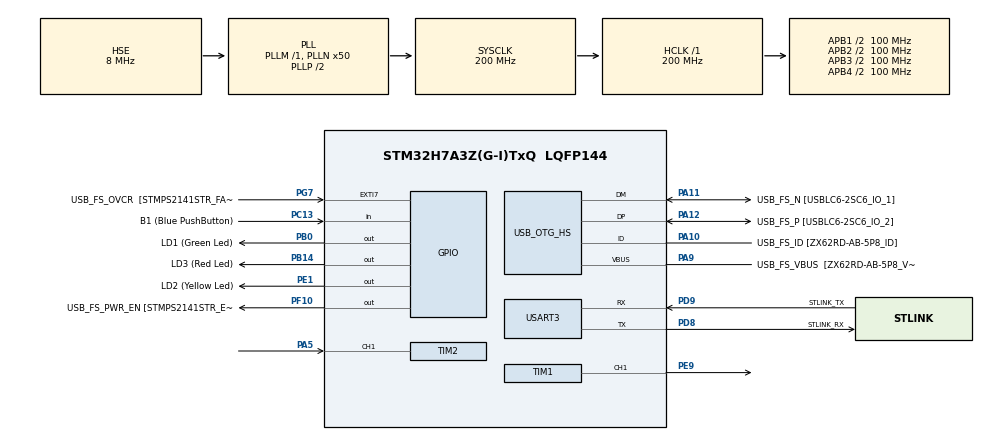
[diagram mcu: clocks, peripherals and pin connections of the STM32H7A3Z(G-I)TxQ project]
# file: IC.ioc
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Dma.Request0=TIM2_CH1
Dma.TIM2_CH1.0.Direction=DMA_PERIPH_TO_MEMORY
Dma.TIM2_CH1.0.EventEnable=DISABLE
Dma.TIM2_CH1.0.FIFOMode=DMA_FIFOMODE_DISABLE
Dma.TIM2_CH1.0.Instance=DMA1_Stream0
Dma.TIM2_CH1.0.MemDataAlignment=DMA_MDATAALIGN_WORD
Dma.TIM2_CH1.0.MemInc=DMA_MINC_ENABLE
Dma.TIM2_CH1.0.Mode=DMA_NORMAL
Dma.TIM2_CH1.0.PeriphDataAlignment=DMA_PDATAALIGN_WORD
Dma.TIM2_CH1.0.PeriphInc=DMA_PINC_DISABLE
Dma.TIM2_CH1.0.Polarity=HAL_DMAMUX_REQ_GEN_RISING
Dma.TIM2_CH1.0.Priority=DMA_PRIORITY_LOW
Dma.TIM2_CH1.0.RequestNumber=1
Dma.TIM2_CH1.0.SignalID=NONE
Dma.TIM2_CH1.0.SyncEnable=DISABLE
Dma.TIM2_CH1.0.SyncPolarity=HAL_DMAMUX_SYNC_NO_EVENT
Dma.TIM2_CH1.0.SyncRequestNumber=1
Dma.TIM2_CH1.0.SyncSignalID=NONE
Mcu.Family=STM32H7
Mcu.Name=STM32H7A3Z(G-I)TxQ
Mcu.Package=LQFP144
NVIC.DMA1_Stream0_IRQn=true\:0\:0\:false\:false\:true\:false\:true\:true
NVIC.PriorityGroup=NVIC_PRIORITYGROUP_4
NVIC.TIM2_IRQn=true\:0\:0\:false\:false\:true\:true\:true\:true
PA10.GPIO_Label=USB_FS_ID [ZX62RD-AB-5P8_ID]
PA10.Mode=OTG/Dual-Role-Device-FS
PA10.Signal=USB_OTG_HS_ID
PA11.GPIO_Label=USB_FS_N [USBLC6-2SC6_IO_1]
PA11.Mode=OTG/Dual-Role-Device-FS
PA11.Signal=USB_OTG_HS_DM
PA12.GPIO_Label=USB_FS_P [USBLC6-2SC6_IO_2]
PA12.Mode=OTG/Dual-Role-Device-FS
PA12.Signal=USB_OTG_HS_DP
PA5.Signal=S_TIM2_CH1_ETR
PA9.GPIO_Label=USB_FS_VBUS  [ZX62RD-AB-5P8_VBUS]
PA9.Mode=Activate_VBUS_FS
PA9.Signal=USB_OTG_HS_VBUS
PB0.GPIO_Label=LD1 (Green Led)
PB0.Signal=GPIO_Output
PB14.GPIO_Label=LD3 (Red Led)
PB14.Signal=GPIO_Output
PC13.GPIO_Label=B1 (Blue PushButton)
PC13.Signal=GPIO_Input
PC14-OSC32_IN.GPIO_Label=OSC32_IN
PC14-OSC32_IN.Mode=LSE-External-Oscillator
PC14-OSC32_IN.Signal=RCC_OSC32_IN
PC15-OSC32_OUT.GPIO_Label=OSC32_OUT
PC15-OSC32_OUT.Mode=LSE-External-Oscillator
PC15-OSC32_OUT.Signal=RCC_OSC32_OUT
PD8.GPIO_Label=STLINK_RX
PD8.Mode=Asynchronous
PD8.Signal=USART3_TX
PD9.GPIO_Label=STLINK_TX
PD9.Mode=Asynchronous
PD9.Signal=USART3_RX
PE1.GPIO_Label=LD2 (Yellow Led)
PE1.Signal=GPIO_Output
PE9.Signal=S_TIM1_CH1
PF10.GPIO_Label=USB_FS_PWR_EN [STMPS2141STR_EN]
PF10.Signal=GPIO_Output
PG7.GPIO_Label=USB_FS_OVCR  [STMPS2141STR_FAULT]
PG7.Signal=GPXTI7
PH0-OSC_IN.GPIO_Label=PH0-MCU
PH0-OSC_IN.Mode=HSE-External-Clock-Source
PH0-OSC_IN.Signal=RCC_OSC_IN
PH1-OSC_OUT.GPIO_Label=PH1-MCU
PH1-OSC_OUT.Signal=RCC_OSC_OUT
ProjectManager.HeapSize=0x200
ProjectManager.StackSize=0x400
ProjectManager.TargetToolchain=STM32CubeIDE
RCC.ADCFreq_Value=16125000
RCC.APB1Freq_Value=100000000
RCC.APB2Freq_Value=100000000
RCC.APB3Freq_Value=100000000
RCC.APB4Freq_Value=100000000
RCC.CDPPRE=RCC_APB3_DIV2
RCC.CDPPRE1=RCC_APB1_DIV2
RCC.CDPPRE2=RCC_APB2_DIV2
RCC.CortexFreq_Value=200000000
RCC.DIVM1=1
RCC.DIVM3=1
RCC.DIVN1=50
RCC.DIVN3=24
RCC.DIVQ1=4
RCC.HCLKFreq_Value=200000000
RCC.HSE_VALUE=8000000
RCC.PLLFRACN=0
RCC.PLLSourceVirtual=RCC_PLLSOURCE_HSE
RCC.PWR_Regulator_Voltage_Scale=PWR_REGULATOR_VOLTAGE_SCALE0
RCC.SRDPPRE=RCC_APB4_DIV2
RCC.SYSCLKFreq_VALUE=200000000
RCC.SYSCLKSource=RCC_SYSCLKSOURCE_PLLCLK
RCC.SupplySource=PWR_DIRECT_SMPS_SUPPLY
RCC.USBCLockSelection=RCC_USBCLKSOURCE_HSI48
RCC.USBFreq_Value=48000000
SH.S_TIM1_CH1.0=TIM1_CH1,PWM Generation1 CH1
SH.S_TIM2_CH1_ETR.0=TIM2_CH1,Input_Capture1_from_TI1
TIM1.AutoReloadPreload=TIM_AUTORELOAD_PRELOAD_ENABLE
TIM1.Channel-PWM\ Generation1\ CH1=TIM_CHANNEL_1
TIM1.Period=20
TIM1.Prescaler=0
TIM1.Pulse-PWM\ Generation1\ CH1=0
TIM2.AutoReloadPreload=TIM_AUTORELOAD_PRELOAD_ENABLE
TIM2.Channel-Input_Capture1_from_TI1=TIM_CHANNEL_1
TIM2.ICPolarity_CH1=TIM_INPUTCHANNELPOLARITY_RISING
TIM2.Period=4294967295
USART3.VirtualMode-Asynchronous=VM_ASYNC
VP_TIM1_VS_ClockSourceINT.Mode=Internal
VP_TIM2_VS_ClockSourceINT.Mode=Internal
board=NUCLEO-H7A3ZI-Q

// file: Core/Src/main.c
/* USER CODE BEGIN Header */
/**
  ******************************************************************************
  * @file           : main.c
  * @brief          : Main program body
  ******************************************************************************
  * @attention
  *
  * Copyright (c) 2024 STMicroelectronics.
  * All rights reserved.
  *
  * This software is licensed under terms that can be found in the LICENSE file
  * in the root directory of this software component.
  * If no LICENSE file comes with this software, it is provided AS-IS.
  *
  ******************************************************************************
  */
/* USER CODE END Header */
#include "main.h"

TIM_HandleTypeDef htim1;
TIM_HandleTypeDef htim2;
DMA_HandleTypeDef hdma_tim2_ch1;

UART_HandleTypeDef huart3;

void SystemClock_Config(void);
static void MX_GPIO_Init(void);
static void MX_DMA_Init(void);
static void MX_USB_OTG_HS_USB_Init(void);
static void MX_TIM2_Init(void);
static void MX_USART3_UART_Init(void);
static void MX_TIM1_Init(void);

/* USER CODE BEGIN 0 */
#define TIMCLOCK   200000000
#define PRESCALAR  0

uint32_t IC_Val1 = 0;
uint32_t IC_Val2 = 0;
uint32_t Difference = 0;
int Is_First_Captured = 0;

/* Measure Frequency */
float frequency = 0;

void HAL_TIM_IC_CaptureCallback(TIM_HandleTypeDef *htim)
{
	if (htim->Channel == HAL_TIM_ACTIVE_CHANNEL_1)
	{
		if (Is_First_Captured==0) // if the first rising edge is not captured
		{
			IC_Val1 = HAL_TIM_ReadCapturedValue(htim, TIM_CHANNEL_1); // read the first value
			Is_First_Captured = 1;  // set the first captured as true
		}

		else   // If the first rising edge is captured, now we will capture the second edge
		{
			IC_Val2 = HAL_TIM_ReadCapturedValue(htim, TIM_CHANNEL_1);  // read second value

			if (IC_Val2 > IC_Val1)
			{
				Difference = IC_Val2-IC_Val1;
			}

			else if (IC_Val1 > IC_Val2)
			{
				Difference = (0xffffffff - IC_Val1) + IC_Val2;
			}

			float refClock = TIMCLOCK/(PRESCALAR+1);

			frequency = refClock/Difference;

			__HAL_TIM_SET_COUNTER(htim, 0);  // reset the counter
			Is_First_Captured = 0; // set it back to false
		}
	}
}
/* USER CODE END 0 */

int main(void)
{

  /* MCU Configuration--------------------------------------------------------*/

  /* Reset of all peripherals, Initializes the Flash interface and the Systick. */
  HAL_Init();

  /* Configure the system clock */
  SystemClock_Config();

  /* Initialize all configured peripherals */
  MX_GPIO_Init();
  MX_DMA_Init();
  MX_USB_OTG_HS_USB_Init();
  MX_TIM2_Init();
  MX_USART3_UART_Init();
  MX_TIM1_Init();
  /* USER CODE BEGIN 2 */
  TIM1->CCR1 = htim1.Init.Period / 2;
  HAL_TIM_PWM_Start(&htim1,TIM_CHANNEL_1);
  HAL_TIM_IC_Start_IT(&htim2, TIM_CHANNEL_1);

  /* USER CODE END 2 */

  /* Infinite loop */
  while (1)
  {

  }
}

void SystemClock_Config(void)
{
  RCC_OscInitTypeDef RCC_OscInitStruct = {0};
  RCC_ClkInitTypeDef RCC_ClkInitStruct = {0};

  /*AXI clock gating */
  RCC->CKGAENR = 0xFFFFFFFF;

  /** Supply configuration update enable
  */
  HAL_PWREx_ConfigSupply(PWR_DIRECT_SMPS_SUPPLY);

  /** Configure the main internal regulator output voltage
  */
  __HAL_PWR_VOLTAGESCALING_CONFIG(PWR_REGULATOR_VOLTAGE_SCALE0);

  while(!__HAL_PWR_GET_FLAG(PWR_FLAG_VOSRDY)) {}

  /** Initializes the RCC Oscillators according to the specified parameters
  * in the RCC_OscInitTypeDef structure.
  */
  RCC_OscInitStruct.OscillatorType = RCC_OSCILLATORTYPE_HSI48|RCC_OSCILLATORTYPE_HSE;
  RCC_OscInitStruct.HSEState = RCC_HSE_BYPASS;
  RCC_OscInitStruct.HSI48State = RCC_HSI48_ON;
  RCC_OscInitStruct.PLL.PLLState = RCC_PLL_ON;
  RCC_OscInitStruct.PLL.PLLSource = RCC_PLLSOURCE_HSE;
  RCC_OscInitStruct.PLL.PLLM = 1;
  RCC_OscInitStruct.PLL.PLLN = 50;
  RCC_OscInitStruct.PLL.PLLP = 2;
  RCC_OscInitStruct.PLL.PLLQ = 4;
  RCC_OscInitStruct.PLL.PLLR = 2;
  RCC_OscInitStruct.PLL.PLLRGE = RCC_PLL1VCIRANGE_3;
  RCC_OscInitStruct.PLL.PLLVCOSEL = RCC_PLL1VCOWIDE;
  RCC_OscInitStruct.PLL.PLLFRACN = 0;
  if (HAL_RCC_OscConfig(&RCC_OscInitStruct) != HAL_OK)
  {
    Error_Handler();
  }

  /** Initializes the CPU, AHB and APB buses clocks
  */
  RCC_ClkInitStruct.ClockType = RCC_CLOCKTYPE_HCLK|RCC_CLOCKTYPE_SYSCLK
                              |RCC_CLOCKTYPE_PCLK1|RCC_CLOCKTYPE_PCLK2
                              |RCC_CLOCKTYPE_D3PCLK1|RCC_CLOCKTYPE_D1PCLK1;
  RCC_ClkInitStruct.SYSCLKSource = RCC_SYSCLKSOURCE_PLLCLK;
  RCC_ClkInitStruct.SYSCLKDivider = RCC_SYSCLK_DIV1;
  RCC_ClkInitStruct.AHBCLKDivider = RCC_HCLK_DIV1;
  RCC_ClkInitStruct.APB3CLKDivider = RCC_APB3_DIV2;
  RCC_ClkInitStruct.APB1CLKDivider = RCC_APB1_DIV2;
  RCC_ClkInitStruct.APB2CLKDivider = RCC_APB2_DIV2;
  RCC_ClkInitStruct.APB4CLKDivider = RCC_APB4_DIV2;

  if (HAL_RCC_ClockConfig(&RCC_ClkInitStruct, FLASH_LATENCY_4) != HAL_OK)
  {
    Error_Handler();
  }
}

static void MX_TIM1_Init(void)
{

  TIM_ClockConfigTypeDef sClockSourceConfig = {0};
  TIM_MasterConfigTypeDef sMasterConfig = {0};
  TIM_OC_InitTypeDef sConfigOC = {0};
  TIM_BreakDeadTimeConfigTypeDef sBreakDeadTimeConfig = {0};

  htim1.Instance = TIM1;
  htim1.Init.Prescaler = 0;
  htim1.Init.CounterMode = TIM_COUNTERMODE_UP;
  htim1.Init.Period = 20;
  htim1.Init.ClockDivision = TIM_CLOCKDIVISION_DIV1;
  htim1.Init.RepetitionCounter = 0;
  htim1.Init.AutoReloadPreload = TIM_AUTORELOAD_PRELOAD_ENABLE;
  if (HAL_TIM_Base_Init(&htim1) != HAL_OK)
  {
    Error_Handler();
  }
  sClockSourceConfig.ClockSource = TIM_CLOCKSOURCE_INTERNAL;
  if (HAL_TIM_ConfigClockSource(&htim1, &sClockSourceConfig) != HAL_OK)
  {
    Error_Handler();
  }
  if (HAL_TIM_PWM_Init(&htim1) != HAL_OK)
  {
    Error_Handler();
  }
  sMasterConfig.MasterOutputTrigger = TIM_TRGO_RESET;
  sMasterConfig.MasterOutputTrigger2 = TIM_TRGO2_RESET;
  sMasterConfig.MasterSlaveMode = TIM_MASTERSLAVEMODE_DISABLE;
  if (HAL_TIMEx_MasterConfigSynchronization(&htim1, &sMasterConfig) != HAL_OK)
  {
    Error_Handler();
  }
  sConfigOC.OCMode = TIM_OCMODE_PWM1;
  sConfigOC.Pulse = 0;
  sConfigOC.OCPolarity = TIM_OCPOLARITY_HIGH;
  sConfigOC.OCNPolarity = TIM_OCNPOLARITY_HIGH;
  sConfigOC.OCFastMode = TIM_OCFAST_DISABLE;
  sConfigOC.OCIdleState = TIM_OCIDLESTATE_RESET;
  sConfigOC.OCNIdleState = TIM_OCNIDLESTATE_RESET;
  if (HAL_TIM_PWM_ConfigChannel(&htim1, &sConfigOC, TIM_CHANNEL_1) != HAL_OK)
  {
    Error_Handler();
  }
  sBreakDeadTimeConfig.OffStateRunMode = TIM_OSSR_DISABLE;
  sBreakDeadTimeConfig.OffStateIDLEMode = TIM_OSSI_DISABLE;
  sBreakDeadTimeConfig.LockLevel = TIM_LOCKLEVEL_OFF;
  sBreakDeadTimeConfig.DeadTime = 0;
  sBreakDeadTimeConfig.BreakState = TIM_BREAK_DISABLE;
  sBreakDeadTimeConfig.BreakPolarity = TIM_BREAKPOLARITY_HIGH;
  sBreakDeadTimeConfig.BreakFilter = 0;
  sBreakDeadTimeConfig.Break2State = TIM_BREAK2_DISABLE;
  sBreakDeadTimeConfig.Break2Polarity = TIM_BREAK2POLARITY_HIGH;
  sBreakDeadTimeConfig.Break2Filter = 0;
  sBreakDeadTimeConfig.AutomaticOutput = TIM_AUTOMATICOUTPUT_DISABLE;
  if (HAL_TIMEx_ConfigBreakDeadTime(&htim1, &sBreakDeadTimeConfig) != HAL_OK)
  {
    Error_Handler();
  }
  HAL_TIM_MspPostInit(&htim1);

}

static void MX_TIM2_Init(void)
{

  TIM_ClockConfigTypeDef sClockSourceConfig = {0};
  TIM_MasterConfigTypeDef sMasterConfig = {0};
  TIM_IC_InitTypeDef sConfigIC = {0};

  htim2.Instance = TIM2;
  htim2.Init.Prescaler = 0;
  htim2.Init.CounterMode = TIM_COUNTERMODE_UP;
  htim2.Init.Period = 4294967295;
  htim2.Init.ClockDivision = TIM_CLOCKDIVISION_DIV1;
  htim2.Init.AutoReloadPreload = TIM_AUTORELOAD_PRELOAD_ENABLE;
  if (HAL_TIM_Base_Init(&htim2) != HAL_OK)
  {
    Error_Handler();
  }
  sClockSourceConfig.ClockSource = TIM_CLOCKSOURCE_INTERNAL;
  if (HAL_TIM_ConfigClockSource(&htim2, &sClockSourceConfig) != HAL_OK)
  {
    Error_Handler();
  }
  if (HAL_TIM_IC_Init(&htim2) != HAL_OK)
  {
    Error_Handler();
  }
  sMasterConfig.MasterOutputTrigger = TIM_TRGO_RESET;
  sMasterConfig.MasterSlaveMode = TIM_MASTERSLAVEMODE_DISABLE;
  if (HAL_TIMEx_MasterConfigSynchronization(&htim2, &sMasterConfig) != HAL_OK)
  {
    Error_Handler();
  }
  sConfigIC.ICPolarity = TIM_INPUTCHANNELPOLARITY_RISING;
  sConfigIC.ICSelection = TIM_ICSELECTION_DIRECTTI;
  sConfigIC.ICPrescaler = TIM_ICPSC_DIV1;
  sConfigIC.ICFilter = 0;
  if (HAL_TIM_IC_ConfigChannel(&htim2, &sConfigIC, TIM_CHANNEL_1) != HAL_OK)
  {
    Error_Handler();
  }

}

static void MX_USART3_UART_Init(void)
{

  huart3.Instance = USART3;
  huart3.Init.BaudRate = 115200;
  huart3.Init.WordLength = UART_WORDLENGTH_8B;
  huart3.Init.StopBits = UART_STOPBITS_1;
  huart3.Init.Parity = UART_PARITY_NONE;
  huart3.Init.Mode = UART_MODE_TX_RX;
  huart3.Init.HwFlowCtl = UART_HWCONTROL_NONE;
  huart3.Init.OverSampling = UART_OVERSAMPLING_16;
  huart3.Init.OneBitSampling = UART_ONE_BIT_SAMPLE_DISABLE;
  huart3.Init.ClockPrescaler = UART_PRESCALER_DIV1;
  huart3.AdvancedInit.AdvFeatureInit = UART_ADVFEATURE_NO_INIT;
  if (HAL_UART_Init(&huart3) != HAL_OK)
  {
    Error_Handler();
  }
  if (HAL_UARTEx_SetTxFifoThreshold(&huart3, UART_TXFIFO_THRESHOLD_1_8) != HAL_OK)
  {
    Error_Handler();
  }
  if (HAL_UARTEx_SetRxFifoThreshold(&huart3, UART_RXFIFO_THRESHOLD_1_8) != HAL_OK)
  {
    Error_Handler();
  }
  if (HAL_UARTEx_DisableFifoMode(&huart3) != HAL_OK)
  {
    Error_Handler();
  }

}

static void MX_USB_OTG_HS_USB_Init(void)
{

}

static void MX_DMA_Init(void)
{

  /* DMA controller clock enable */
  __HAL_RCC_DMA1_CLK_ENABLE();

  /* DMA interrupt init */
  /* DMA1_Stream0_IRQn interrupt configuration */
  HAL_NVIC_SetPriority(DMA1_Stream0_IRQn, 0, 0);
  HAL_NVIC_EnableIRQ(DMA1_Stream0_IRQn);

}

static void MX_GPIO_Init(void)
{
  GPIO_InitTypeDef GPIO_InitStruct = {0};

  /* GPIO Ports Clock Enable */
  __HAL_RCC_GPIOC_CLK_ENABLE();
  __HAL_RCC_GPIOF_CLK_ENABLE();
  __HAL_RCC_GPIOH_CLK_ENABLE();
  __HAL_RCC_GPIOA_CLK_ENABLE();
  __HAL_RCC_GPIOB_CLK_ENABLE();
  __HAL_RCC_GPIOE_CLK_ENABLE();
  __HAL_RCC_GPIOD_CLK_ENABLE();
  __HAL_RCC_GPIOG_CLK_ENABLE();

  /*Configure GPIO pin Output Level */
  HAL_GPIO_WritePin(USB_FS_PWR_EN_GPIO_Port, USB_FS_PWR_EN_Pin, GPIO_PIN_RESET);

  /*Configure GPIO pin Output Level */
  HAL_GPIO_WritePin(GPIOB, LD1_Pin|LD3_Pin, GPIO_PIN_RESET);

  /*Configure GPIO pin Output Level */
  HAL_GPIO_WritePin(LD2_GPIO_Port, LD2_Pin, GPIO_PIN_RESET);

  /*Configure GPIO pin : B1_Pin */
  GPIO_InitStruct.Pin = B1_Pin;
  GPIO_InitStruct.Mode = GPIO_MODE_INPUT;
  GPIO_InitStruct.Pull = GPIO_NOPULL;
  HAL_GPIO_Init(B1_GPIO_Port, &GPIO_InitStruct);

  /*Configure GPIO pin : USB_FS_PWR_EN_Pin */
  GPIO_InitStruct.Pin = USB_FS_PWR_EN_Pin;
  GPIO_InitStruct.Mode = GPIO_MODE_OUTPUT_PP;
  GPIO_InitStruct.Pull = GPIO_NOPULL;
  GPIO_InitStruct.Speed = GPIO_SPEED_FREQ_LOW;
  HAL_GPIO_Init(USB_FS_PWR_EN_GPIO_Port, &GPIO_InitStruct);

  /*Configure GPIO pins : LD1_Pin LD3_Pin */
  GPIO_InitStruct.Pin = LD1_Pin|LD3_Pin;
  GPIO_InitStruct.Mode = GPIO_MODE_OUTPUT_PP;
  GPIO_InitStruct.Pull = GPIO_NOPULL;
  GPIO_InitStruct.Speed = GPIO_SPEED_FREQ_LOW;
  HAL_GPIO_Init(GPIOB, &GPIO_InitStruct);

  /*Configure GPIO pin : USB_FS_OVCR_Pin */
  GPIO_InitStruct.Pin = USB_FS_OVCR_Pin;
  GPIO_InitStruct.Mode = GPIO_MODE_IT_RISING;
  GPIO_InitStruct.Pull = GPIO_NOPULL;
  HAL_GPIO_Init(USB_FS_OVCR_GPIO_Port, &GPIO_InitStruct);

  /*Configure GPIO pin : USB_FS_VBUS_Pin */
  GPIO_InitStruct.Pin = USB_FS_VBUS_Pin;
  GPIO_InitStruct.Mode = GPIO_MODE_INPUT;
  GPIO_InitStruct.Pull = GPIO_NOPULL;
  HAL_GPIO_Init(USB_FS_VBUS_GPIO_Port, &GPIO_InitStruct);

  /*Configure GPIO pin : USB_FS_ID_Pin */
  GPIO_InitStruct.Pin = USB_FS_ID_Pin;
  GPIO_InitStruct.Mode = GPIO_MODE_AF_PP;
  GPIO_InitStruct.Pull = GPIO_NOPULL;
  GPIO_InitStruct.Speed = GPIO_SPEED_FREQ_LOW;
  GPIO_InitStruct.Alternate = GPIO_AF10_OTG1_HS;
  HAL_GPIO_Init(USB_FS_ID_GPIO_Port, &GPIO_InitStruct);

  /*Configure GPIO pins : USB_FS_N_Pin USB_FS_P_Pin */
  GPIO_InitStruct.Pin = USB_FS_N_Pin|USB_FS_P_Pin;
  GPIO_InitStruct.Mode = GPIO_MODE_AF_PP;
  GPIO_InitStruct.Pull = GPIO_NOPULL;
  GPIO_InitStruct.Speed = GPIO_SPEED_FREQ_LOW;
  HAL_GPIO_Init(GPIOA, &GPIO_InitStruct);

  /*Configure GPIO pin : LD2_Pin */
  GPIO_InitStruct.Pin = LD2_Pin;
  GPIO_InitStruct.Mode = GPIO_MODE_OUTPUT_PP;
  GPIO_InitStruct.Pull = GPIO_NOPULL;
  GPIO_InitStruct.Speed = GPIO_SPEED_FREQ_LOW;
  HAL_GPIO_Init(LD2_GPIO_Port, &GPIO_InitStruct);

}

void Error_Handler(void)
{
  __disable_irq();
  while (1)
  {
  }
}
